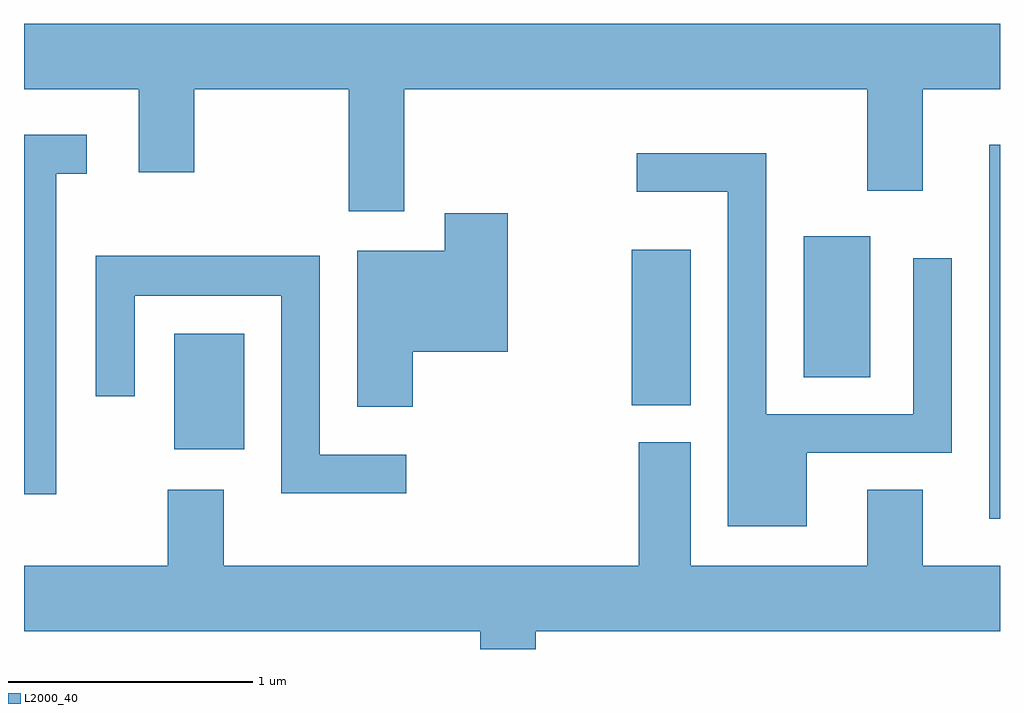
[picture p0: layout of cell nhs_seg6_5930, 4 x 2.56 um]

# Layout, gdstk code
import gdstk
lib = gdstk.Library(unit=1e-6, precision=1e-09)
def R(c, l, rs):  # rectangles x0, y0, x1, y1
    for r in rs: c.add(gdstk.rectangle(r[:2], r[2:], *l))
def P(c, l, *ps):  # polygons
    for p in ps: c.add(gdstk.Polygon(p, *l))
L2000_40 = (2000, 40)

nhs_seg6_5930 = lib.new_cell('nhs_seg6_5930')
R(nhs_seg6_5930, L2000_40, [(369.566,1572.696,369.611,1574.229), (366.226,1572.981,366.514,1573.454), (368.101,1573.161,368.344,1573.799), (368.806,1573.276,369.079,1573.854)])
P(nhs_seg6_5930, L2000_40, [(367.169,1574.456),(369.066,1574.456),(369.066,1574.041),(369.294,1574.041),(369.294,1574.456),(369.611,1574.456),(369.611,1574.724),(365.611,1574.724),(365.611,1574.456),(366.081,1574.456),(366.081,1574.116),(366.309,1574.116),(366.309,1574.456),(366.941,1574.456),(366.941,1573.956),(367.169,1573.956)],
  [(365.744,1574.111),(365.868,1574.111),(365.868,1574.269),(365.611,1574.269),(365.611,1572.796),(365.744,1572.796)],
  [(368.819,1572.966),(369.414,1572.966),(369.414,1573.763),(369.256,1573.763),(369.256,1573.124),(368.654,1573.124),(368.654,1574.194),(368.123,1574.194),(368.123,1574.036),(368.496,1574.036),(368.496,1572.666),(368.819,1572.666)],
  [(367.204,1573.381),(367.594,1573.381),(367.594,1573.949),(367.336,1573.949),(367.336,1573.794),(366.976,1573.794),(366.976,1573.156),(367.204,1573.156)],
  [(367.178,1572.959),(366.824,1572.959),(366.824,1573.774),(365.906,1573.774),(365.906,1573.198),(366.064,1573.198),(366.064,1573.611),(366.666,1573.611),(366.666,1572.801),(367.178,1572.801)],
  [(366.201,1572.814),(366.201,1572.504),(365.611,1572.504),(365.611,1572.236),(367.481,1572.236),(367.481,1572.162),(367.709,1572.162),(367.709,1572.236),(369.611,1572.236),(369.611,1572.504),(369.294,1572.504),(369.294,1572.814),(369.066,1572.814),(369.066,1572.504),(368.344,1572.504),(368.344,1573.009),(368.131,1573.009),(368.131,1572.504),(366.429,1572.504),(366.429,1572.814)])

lib.write_gds('nhs_seg6_5930.gds')
